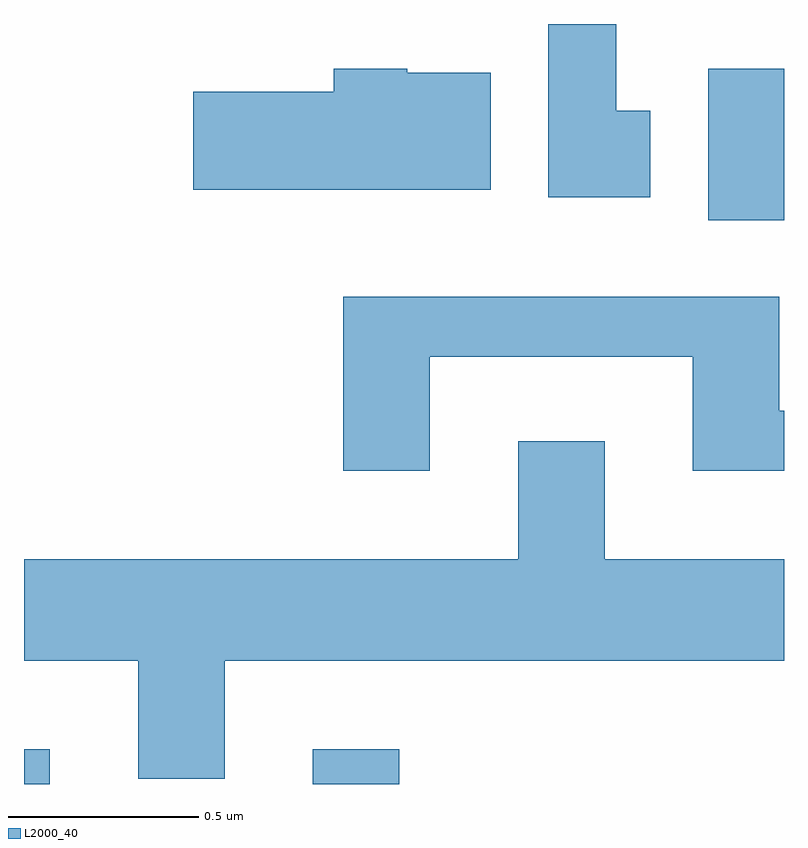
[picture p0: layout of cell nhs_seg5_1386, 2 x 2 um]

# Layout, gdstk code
import gdstk
lib = gdstk.Library(unit=1e-6, precision=1e-09)
def R(c, l, rs):  # rectangles x0, y0, x1, y1
    for r in rs: c.add(gdstk.rectangle(r[:2], r[2:], *l))
def P(c, l, *ps):  # polygons
    for p in ps: c.add(gdstk.Polygon(p, *l))
L2000_40 = (2000, 40)

nhs_seg5_1386 = lib.new_cell('nhs_seg5_1386')
R(nhs_seg5_1386, L2000_40, [(195.611,1412.072,195.679,1412.164), (196.371,1412.072,196.599,1412.164), (197.411,1413.556,197.611,1413.954)])
P(nhs_seg5_1386, L2000_40, [(197.259,1413.844),(197.169,1413.844),(197.169,1414.072),(196.991,1414.072),(196.991,1413.616),(197.259,1413.616)],
  [(196.839,1413.944),(196.62,1413.944),(196.62,1413.954),(196.426,1413.954),(196.426,1413.894),(196.056,1413.894),(196.056,1413.636),(196.839,1413.636)],
  [(196.679,1413.196),(197.371,1413.196),(197.371,1412.896),(197.611,1412.896),(197.611,1413.054),(197.599,1413.054),(197.599,1413.354),(196.451,1413.354),(196.451,1412.896),(196.679,1412.896)],
  [(196.139,1412.396),(197.611,1412.396),(197.611,1412.664),(197.139,1412.664),(197.139,1412.974),(196.911,1412.974),(196.911,1412.664),(195.611,1412.664),(195.611,1412.396),(195.911,1412.396),(195.911,1412.086),(196.139,1412.086)])

lib.write_gds('nhs_seg5_1386.gds')
